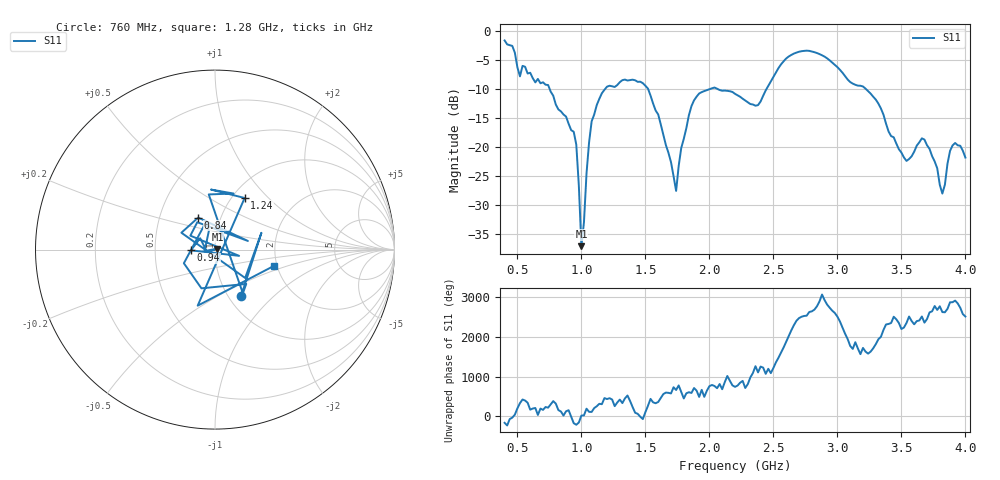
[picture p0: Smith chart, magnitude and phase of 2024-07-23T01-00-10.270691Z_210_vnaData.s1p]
!Created with skrf (http://scikit-rf.org).
# Hz S RI R 50.0
!freq ReS11 ImS11
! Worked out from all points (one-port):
!   181 points, 400 MHz to 4 GHz, reference 50 ohm
!   lowest |S11| = -37.2 dB at 1 GHz (marker M1), VSWR 1.03, Z = 51.4 + j0.382 ohm
!   |S11| at or under -10 dB: 751 MHz to 1.187 GHz (436.1 MHz wide, 45 % of centre); 1.52 GHz to 2.013 GHz (492.6 MHz wide, 27.9 % of centre); 3.22 GHz to end of sweep (the widest 3 of 4)
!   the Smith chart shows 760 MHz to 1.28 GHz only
!   S11 on the Smith chart (normalised r, x): 760 MHz: 1.14, -0.65; 840 MHz: 0.78, +0.29; 940 MHz: 0.76, -0.01; 1.24 GHz: 1.14, +0.74; 1.28 GHz: 1.92, -0.40
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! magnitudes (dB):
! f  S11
! 400 MHz  -1.7
! 460 MHz  -2.6
! 520 MHz  -7.9
! 760 MHz  -10.5
! 840 MHz  -13.9
! 860 MHz  -14.4
! 940 MHz  -17.4
! 960 MHz  -19.6
! 1 GHz  -37.2
! 1.08 GHz  -15.6
! 1.24 GHz  -9.6
! 1.28 GHz  -9.4
! 1.3 GHz  -8.9
! 1.52 GHz  -10.0
! 1.74 GHz  -27.6
! 1.76 GHz  -23.3
! 1.9 GHz  -11.4
! 2.2 GHz  -10.9
! 2.38 GHz  -12.8
! 2.66 GHz  -4.0
! 2.88 GHz  -4.2
! 3.1 GHz  -8.9
! 3.3 GHz  -11.9
! 3.56 GHz  -22.1
! 3.68 GHz  -18.8
! 3.82 GHz  -28.1
! 3.9 GHz  -19.8
! 4 GHz  -21.9
